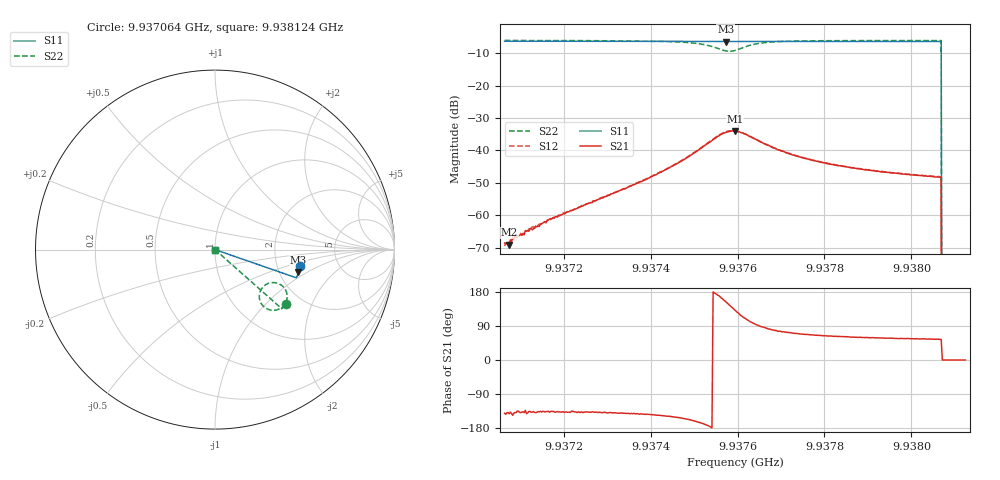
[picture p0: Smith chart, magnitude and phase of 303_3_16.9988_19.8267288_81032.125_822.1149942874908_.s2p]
#  HZ  S  RI  R  50.00
! Rohde & Schwarz Vector Network Analyzer
! Rohde-Schwarz,ZNB20-2Port,1311601062101988,3.16
! Created: UTC 3/20/2024, 11:05:42 PM
! freq[Hz]  re:S11  im:S11  re:S21  im:S21  re:S12  im:S12  re:S22  im:S22
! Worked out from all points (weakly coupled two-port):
!   401 points, 9.937064 GHz to 9.938124 GHz, reference 50 ohm
!   highest |S21| = -33.97 dB at 9.937594 GHz (marker M1); lowest = -69.1 dB at 9.937074 GHz (marker M2)
!   lowest |S11| = -6.4 dB at 9.937573 GHz (marker M3), VSWR 2.85, Z = 127 - j41.2 ohm
!   |S11| at or under -10 dB: 9.938069 GHz to end of sweep
!   |S22| runs from - to -6.1 dB; largest |S21 - S12| = 0.00079
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9.9370637e9  0.4756 -0.092  -0.000288 -0.000235  -0.000278 -0.000183  0.3953 -0.3034
9.9370743e9  0.4754 -0.0926  -0.000277 -0.000217  -0.000283 -0.000265  0.3946 -0.3042
9.9370876e9  0.4753 -0.0937  -0.000353 -0.000313  -0.000339 -0.000288  0.3936 -0.3052
9.9371247e9  0.4745 -0.0962  -0.000468 -0.000429  -0.000475 -0.000392  0.3909 -0.3077
9.9371698e9  0.4737 -0.0993  -0.00063 -0.000624  -0.000635 -0.000574  0.3872 -0.3113
9.9372414e9  0.4723 -0.1041  -0.001 -0.000934  -0.00104 -0.000959  0.3803 -0.317
9.9373448e9  0.4701 -0.111  -0.00205 -0.00165  -0.0021 -0.00165  0.3662 -0.3266
9.937419e9  0.4686 -0.116  -0.00371 -0.00252  -0.0038 -0.00247  0.3485 -0.3345
9.9374747e9  0.467 -0.1199  -0.00641 -0.00311  -0.00657 -0.00304  0.3235 -0.3382
9.9375198e9  0.4657 -0.1228  -0.011 -0.00243  -0.0113 -0.00221  0.2852 -0.3278
9.9375543e9  0.4641 -0.1246  -0.0163 0.00257  -0.0165 0.00291  0.2496 -0.2818
9.9375728e9  0.4633 -0.1252  -0.017 0.00837  -0.0172 0.009  0.2514 -0.2342
9.9375941e9  0.4633 -0.1257  -0.0133 0.015  -0.0128 0.0155  0.2929 -0.1899
9.9376179e9  0.4636 -0.1269  -0.00597 0.0168  -0.00535 0.0172  0.3522 -0.1885
9.9376497e9  0.4636 -0.1292  4.54e-05 0.0138  0.000202 0.0141  0.3914 -0.2219
9.9377001e9  0.4628 -0.1328  0.00244 0.00949  0.00268 0.00954  0.4021 -0.2623
9.9377717e9  0.4614 -0.1379  0.00286 0.00646  0.00301 0.00646  0.397 -0.2905
9.9378274e9  0.46 -0.1417  0.00272 0.00522  0.00287 0.00525  0.3914 -0.3025
9.9379494e9  0.4568 -0.1497  0.00244 0.00384  0.00253 0.00381  0.3812 -0.3189
9.9380634e9  0.4542 -0.1571  0.00224 0.00316  0.00234 0.00319  0.373 -0.3291
9.9380767e9  0 0  0 0  0 0  0 0
9.9381244e9  0 0  0 0  0 0  0 0
